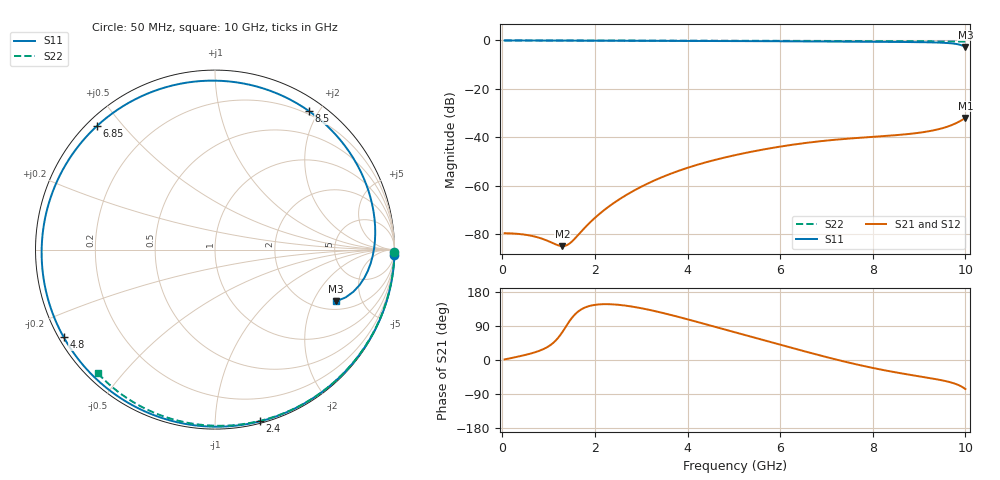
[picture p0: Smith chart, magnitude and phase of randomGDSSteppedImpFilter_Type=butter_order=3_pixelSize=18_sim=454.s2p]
! freq	dB(S11)	phase(S11)	dB(S12)	phase(S12)
!  dB(S21)	phase(S21)	dB(S22)	phase(S22)
!S-par simulation data
#  GHz  S  DB  R 50
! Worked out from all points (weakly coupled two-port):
!   200 points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, 50 MHz to 10 GHz, reference 50 ohm
!   highest |S21| = -31.98 dB at 10 GHz (marker M1); lowest = -84.9 dB at 1.3 GHz (marker M2)
!   lowest |S11| = -2.7 dB at 10 GHz (marker M3), VSWR 6.52, Z = 122 - j153 ohm
!   |S11| at or under -10 dB: nowhere
!   |S22| runs from -0.5 to 0.0 dB; largest |S21 - S12| = 0
!   S11 on the Smith chart (normalised r, x): 50 MHz: 0, -71; 2.4 GHz: 0.01, -1.29; 4.8 GHz: 0.01, -0.27; 6.85 GHz: 0.03, +0.43; 8.5 GHz: 0.16, +1.88; 10 GHz: 2.45, -3.06
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0.05  -0.00 -1.6  -79.58 1.6  -79.58 1.6  -0.00 -0.8
0.65  -0.02 -20.8  -80.74 18.3  -80.74 18.3  -0.01 -10.0
1.3  -0.05 -41.4  -84.94 74.3  -84.94 74.3  -0.02 -19.9
1.65  -0.07 -52.3  -80.06 129.0  -80.06 129.0  -0.03 -25.2
1.75  -0.07 -55.4  -77.97 136.5  -77.97 136.5  -0.03 -26.6
2.4  -0.10 -75.4  -67.21 146.7  -67.21 146.7  -0.05 -36.3
3.4  -0.14 -106.0  -56.84 126.1  -56.84 126.1  -0.07 -50.7
4.1  -0.18 -127.6  -51.97 104.1  -51.97 104.1  -0.08 -60.5
4.8  -0.23 -150.0  -48.34 80.7  -48.34 80.7  -0.10 -70.0
5.05  -0.25 -158.3  -47.25 72.2  -47.25 72.2  -0.11 -73.4
5.9  -0.32 171.7  -44.14 43.8  -44.14 43.8  -0.14 -84.4
6.7  -0.41 140.0  -41.97 17.3  -41.97 17.3  -0.18 -94.5
6.85  -0.42 133.6  -41.64 12.4  -41.64 12.4  -0.19 -96.3
7.25  -0.47 116.0  -40.89 -0.0  -40.89 -0.0  -0.21 -101.2
7.65  -0.51 97.4  -40.28 -11.7  -40.28 -11.7  -0.24 -106.1
8  -0.55 80.5  -39.81 -20.9  -39.81 -20.9  -0.26 -110.2
8.35  -0.59 63.3  -39.33 -29.4  -39.33 -29.4  -0.29 -114.4
8.5  -0.61 55.8  -39.10 -32.7  -39.10 -32.7  -0.30 -116.1
8.95  -0.69 33.4  -38.23 -42.1  -38.23 -42.1  -0.34 -121.4
9.4  -0.87 10.9  -36.74 -51.3  -36.74 -51.3  -0.39 -126.6
9.75  -1.31 -7.9  -34.58 -61.5  -34.58 -61.5  -0.42 -130.6
10  -2.69 -23.1  -31.98 -76.7  -31.98 -76.7  -0.45 -133.5
